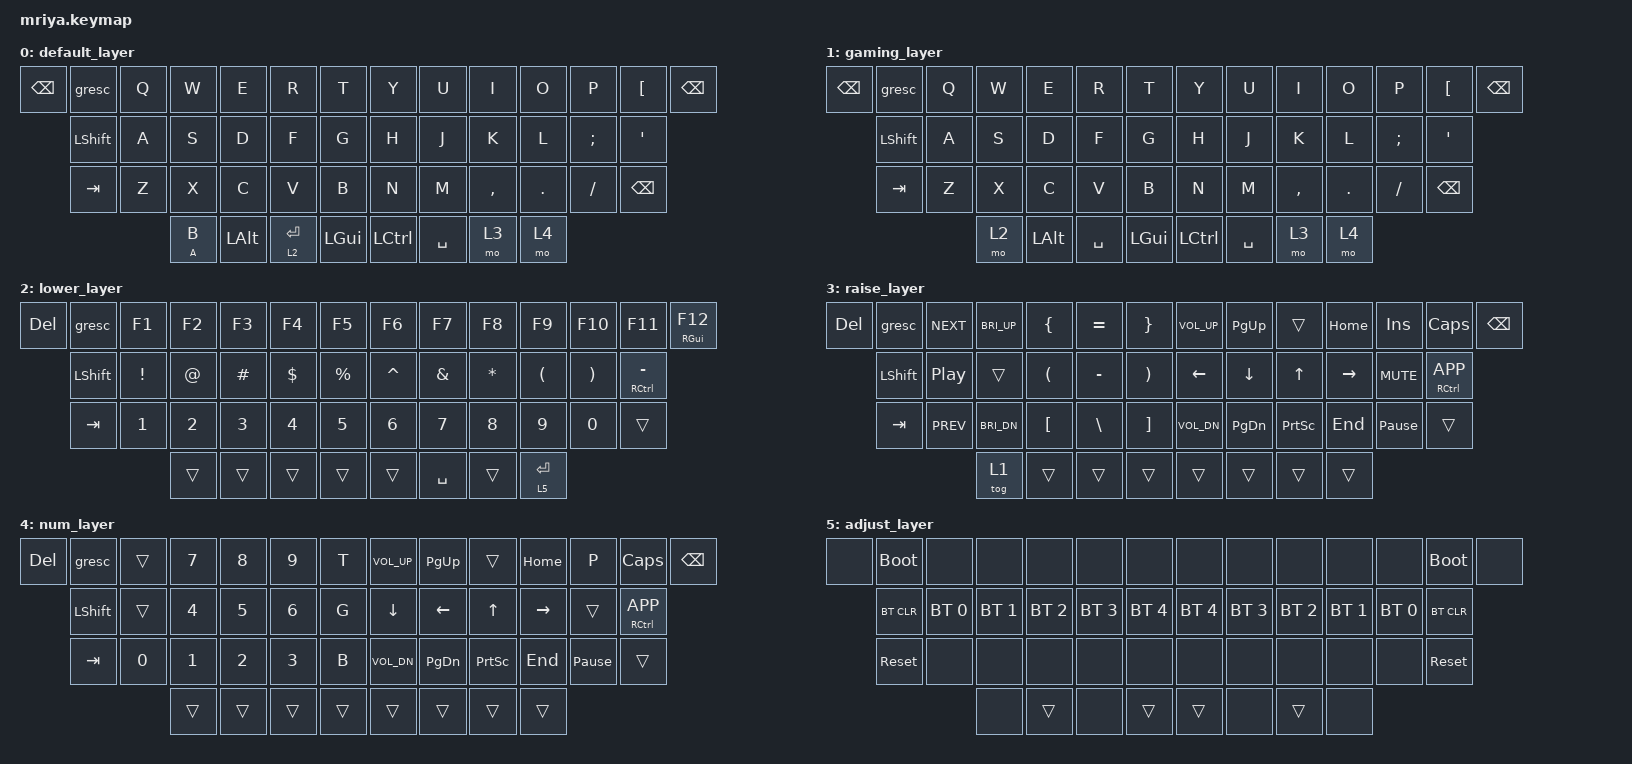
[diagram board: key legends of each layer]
/*
 *
 * SPDX-License-Identifier: MIT
 */

#include <behaviors.dtsi>
#include <dt-bindings/zmk/keys.h>
#include <dt-bindings/zmk/bt.h>

#define DEF 0
#define GMR 1
#define LWR 2
#define RSE 3
#define NUM 4
#define ADJ 5

&lt {
    quick_tap_ms = <200>;
};

&mt {
    quick_tap_ms = <200>;
};

/ {
    macros {
        mv_l_mc: mv_l_mc {
            label = "move_layer_macro";
            compatible = "zmk,behavior-macro";
            #binding-cells = <0>;
            bindings
                = <&macro_press &mo 4>
                , <&macro_press &kp LALT &kp LSHIFT>
                , <&macro_pause_for_release>
                , <&macro_release &kp LSHIFT &kp LALT>
                , <&macro_release &mo 4>
                ;
        };

        all_w: all_w {
            label = "all_windows";
            compatible = "zmk,behavior-macro";
            #binding-cells = <0>;
            bindings
                = <&macro_press &kp LGUI>
                , <&macro_press &kp UP>
                , <&macro_release &kp LGUI &kp UP>
                ;
        };

    };

    behaviors {
        td0: tap_dance_0 {
            compatible = "zmk,behavior-tap-dance";
            label = "TAP_DANCE_0";
            #binding-cells = <0>;
            tapping-term-ms = <200>;
            bindings = <&mv_l_mc>, <&all_w>;
        };
    
        hm: homerow_mods {
            compatible = "zmk,behavior-hold-tap";
            label = "homerow mods";
            #binding-cells = <2>;
            tapping_term_ms = <200>;
            flavor = "tap-preferred";
            bindings = <&mv_l_mc>, <&all_w>;
        };
    };

    keymap {
        compatible = "zmk,keymap";

        default_layer {
            bindings = <
&kp BSPC   &gresc      &kp Q   &kp W      &kp E        &kp R       &kp T      &kp Y       &kp U       &kp I       &kp O     &kp P      &kp LBKT        &kp BSPC
           &kp LSHFT   &kp A   &kp S      &kp D        &kp F       &kp G      &kp H       &kp J       &kp K       &kp L     &kp SEMI   &kp SQT
           &kp TAB     &kp Z   &kp X      &kp C        &kp V       &kp B      &kp N       &kp M       &kp COMMA   &kp DOT   &kp FSLH   &kp BSPC
                               &hm A B    &kp LALT     &lt 2 RET   &kp LGUI   &kp LCTRL   &kp SPACE   &mo 3       &mo 4
            >;
        };

        gaming_layer {
            bindings = <
&kp BSPC   &gresc      &kp Q   &kp W   &kp E        &kp R         &kp T      &kp Y       &kp U       &kp I       &kp O     &kp P      &kp LBKT        &kp BSPC
           &kp LSHFT   &kp A   &kp S   &kp D        &kp F         &kp G      &kp H       &kp J       &kp K       &kp L     &kp SEMI   &kp SQT
           &kp TAB     &kp Z   &kp X   &kp C        &kp V         &kp B      &kp N       &kp M       &kp COMMA   &kp DOT   &kp FSLH   &kp BSPC
                               &mo 2   &kp LALT     &kp SPACE     &kp LGUI   &kp LCTRL   &kp SPACE   &mo 3       &mo 4
            >;
        };


        lower_layer {
            bindings = <
&kp DEL   &gresc       &kp F1     &kp F2   &kp F3     &kp F4     &kp F5      &kp F6      &kp F7      &kp F8     &kp F9      &kp F10    &kp F11           &mt RGUI F12
          &kp LSHIFT   &kp EXCL   &kp AT   &kp HASH   &kp DLLR   &kp PRCNT   &kp CARET   &kp AMPS    &kp STAR   &kp LPAR    &kp RPAR   &mt RCTRL MINUS
          &kp TAB      &kp N1     &kp N2   &kp N3     &kp N4     &kp N5      &kp N6      &kp N7      &kp N8     &kp N9      &kp N0     &trans
                                  &trans   &trans     &trans     &trans      &trans      &kp SPACE   &trans     &lt 5 RET
            >;
        };

        raise_layer {
            bindings = <
&kp DEL   &gresc       &kp C_NEXT   &kp C_BRI_UP   &kp LBRC   &kp EQUAL   &kp RBRC    &kp C_VOL_UP   &kp PG_UP   &trans      &kp HOME    &kp INS           &kp CAPS          &kp BSPC
          &kp LSHIFT   &kp C_PP     &trans         &kp LPAR   &kp MINUS   &kp RPAR    &kp LEFT       &kp DOWN    &kp UP      &kp RIGHT   &kp C_MUTE        &mt RCTRL K_APP
          &kp TAB      &kp C_PREV   &kp C_BRI_DN   &kp LBKT   &kp BSLH    &kp RBKT    &kp C_VOL_DN   &kp PG_DN   &kp PSCRN   &kp END     &kp PAUSE_BREAK   &trans
                                    &tog 1         &trans     &trans      &trans      &trans         &trans      &trans      &trans
            >;
        };

        num_layer {
            bindings = <
&kp DEL   &gresc       &trans   &kp N7   &kp N8   &kp N9   &kp T    &kp C_VOL_UP   &kp PG_UP   &trans      &kp HOME    &kp P             &kp CAPS          &kp BSPC
          &kp LSHIFT   &trans   &kp N4   &kp N5   &kp N6   &kp G    &kp DOWN       &kp LEFT    &kp UP      &kp RIGHT   &trans            &mt RCTRL K_APP
          &kp TAB      &kp N0   &kp N1   &kp N2   &kp N3   &kp B    &kp C_VOL_DN   &kp PG_DN   &kp PSCRN   &kp END     &kp PAUSE_BREAK   &trans
                                &trans   &trans   &trans   &trans   &trans         &trans      &trans      &trans
            >;
        };

        adjust_layer {
            bindings = <
&none  &bootloader         &none         &none         &none         &none         &none           &none         &none         &none         &none         &none  &bootloader  &none
        &bt BT_CLR  &bt BT_SEL 0  &bt BT_SEL 1  &bt BT_SEL 2  &bt BT_SEL 3  &bt BT_SEL 4    &bt BT_SEL 4  &bt BT_SEL 3  &bt BT_SEL 2  &bt BT_SEL 1  &bt BT_SEL 0   &bt BT_CLR
        &sys_reset         &none         &none         &none         &none         &none           &none         &none         &none         &none         &none   &sys_reset
                                         &none        &trans         &none        &trans          &trans         &none        &trans         &none
            >;
        };
    };
};
